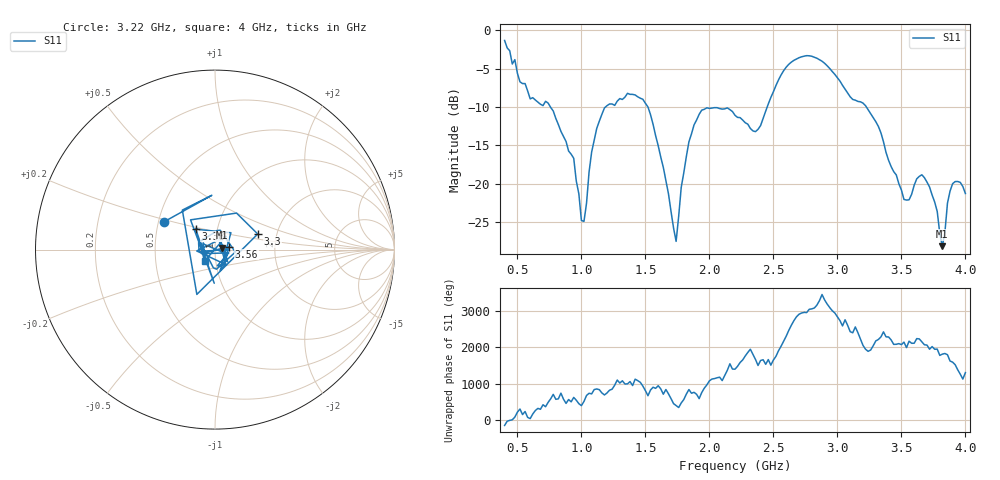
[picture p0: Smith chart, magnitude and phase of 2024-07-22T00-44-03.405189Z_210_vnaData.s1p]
!Created with skrf (http://scikit-rf.org).
# Hz S RI R 50.0
!freq ReS11 ImS11
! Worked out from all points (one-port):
!   181 points, 400 MHz to 4 GHz, reference 50 ohm
!   lowest |S11| = -28.1 dB at 3.82 GHz (marker M1), VSWR 1.08, Z = 53.9 + j1.21 ohm
!   |S11| at or under -10 dB: 757.7 MHz to 1.189 GHz (431.3 MHz wide, 44.3 % of centre); 1.52 GHz to 2.452 GHz (931.9 MHz wide, 46.9 % of centre); 3.226 GHz to end of sweep
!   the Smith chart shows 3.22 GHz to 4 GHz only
!   S11 on the Smith chart (normalised r, x): 3.22 GHz: 0.54, +0.19; 3.3 GHz: 1.59, +0.30; 3.38 GHz: 0.78, +0.19; 3.56 GHz: 1.17, +0.04; 4 GHz: 0.88, -0.11
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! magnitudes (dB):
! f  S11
! 400 MHz  -1.3
! 600 MHz  -9.0
! 740 MHz  -9.5
! 860 MHz  -13.8
! 940 MHz  -16.7
! 1 GHz  -24.8
! 1.02 GHz  -24.9
! 1.12 GHz  -12.8
! 1.3 GHz  -8.9
! 1.52 GHz  -10.0
! 1.74 GHz  -27.5
! 1.76 GHz  -24.2
! 1.84 GHz  -14.5
! 1.92 GHz  -11.0
! 2.2 GHz  -11.1
! 2.38 GHz  -12.9
! 2.66 GHz  -3.9
! 2.88 GHz  -4.0
! 3.1 GHz  -8.7
! 3.22 GHz  -9.8
! 3.3 GHz  -11.9
! 3.38 GHz  -15.9
! 3.56 GHz  -22.1
! 3.68 GHz  -19.2
! 3.78 GHz  -23.6
! 3.82 GHz  -28.1
! 3.9 GHz  -20.0
! 4 GHz  -21.3
